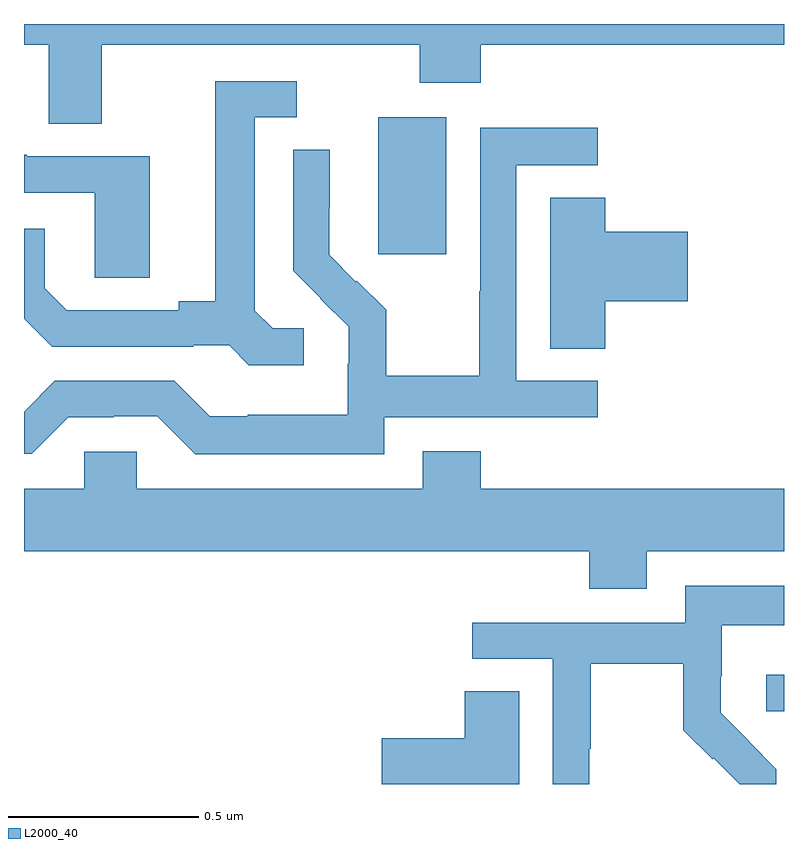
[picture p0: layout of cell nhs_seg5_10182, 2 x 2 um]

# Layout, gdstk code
import gdstk
lib = gdstk.Library(unit=1e-6, precision=1e-09)
def R(c, l, rs):  # rectangles x0, y0, x1, y1
    for r in rs: c.add(gdstk.rectangle(r[:2], r[2:], *l))
def P(c, l, *ps):  # polygons
    for p in ps: c.add(gdstk.Polygon(p, *l))
L2000_40 = (2000, 40)

nhs_seg5_10182 = lib.new_cell('nhs_seg5_10182')
R(nhs_seg5_10182, L2000_40, [(244.953,870.99,245,871.087), (243.932,872.193,244.111,872.554)])
P(nhs_seg5_10182, L2000_40, [(243.205,872.744),(244.042,872.744),(244.042,872.645),(244.202,872.645),(244.202,872.744),(245,872.744),(245,872.799),(243,872.799),(243,872.744),(243.065,872.744),(243.065,872.536),(243.205,872.536)],
  [(243.736,871.998),(243.654,871.998),(243.607,872.045),(243.607,872.553),(243.718,872.553),(243.718,872.649),(243.503,872.649),(243.503,872.069),(243.407,872.069),(243.407,872.046),(243.112,872.046),(243.055,872.103),(243.055,872.26),(243,872.26),(243,872.024),(243.074,871.95),(243.446,871.95),(243.446,871.953),(243.54,871.953),(243.592,871.901),(243.736,871.901)],
  [(243.948,871.764),(244.51,871.764),(244.51,871.86),(244.296,871.86),(244.296,872.427),(244.51,872.427),(244.51,872.526),(244.2,872.526),(244.2,872.096),(244.198,872.096),(244.198,871.873),(243.953,871.873),(243.953,872.047),(243.876,872.124),(243.873,872.121),(243.803,872.192),(243.803,872.314),(243.804,872.314),(243.804,872.468),(243.708,872.468),(243.708,872.15),(243.781,872.077),(243.78,872.076),(243.854,872.002),(243.854,871.905),(243.852,871.905),(243.852,871.771),(243.589,871.771),(243.589,871.767),(243.489,871.767),(243.396,871.86),(243.081,871.86),(243,871.779),(243,871.668),(243.021,871.668),(243.117,871.764),(243.236,871.764),(243.236,871.767),(243.351,871.767),(243.451,871.667),(243.948,871.667)],
  [(243.331,872.451),(243.007,872.451),(243.007,872.455),(243,872.455),(243,872.355),(243.186,872.355),(243.186,872.131),(243.331,872.131)],
  [(244.529,872.069),(244.747,872.069),(244.747,872.252),(244.529,872.252),(244.529,872.342),(244.385,872.342),(244.385,871.945),(244.529,871.945)],
  [(244.639,871.412),(245,871.412),(245,871.576),(244.202,871.576),(244.202,871.675),(244.049,871.675),(244.049,871.576),(243.297,871.576),(243.297,871.674),(243.159,871.674),(243.159,871.576),(243,871.576),(243,871.412),(244.487,871.412),(244.487,871.313),(244.639,871.313)],
  [(244.488,870.892),(244.491,870.892),(244.491,871.116),(244.735,871.116),(244.735,870.941),(244.812,870.864),(244.815,870.867),(244.884,870.799),(244.98,870.799),(244.98,870.838),(244.907,870.911),(244.908,870.912),(244.834,870.986),(244.834,871.083),(244.836,871.083),(244.836,871.217),(245,871.217),(245,871.321),(244.74,871.321),(244.74,871.224),(244.179,871.224),(244.179,871.128),(244.392,871.128),(244.392,870.799),(244.488,870.799)],
  [(244.303,871.043),(244.16,871.043),(244.16,870.92),(243.942,870.92),(243.942,870.799),(244.303,870.799)])

lib.write_gds('nhs_seg5_10182.gds')
